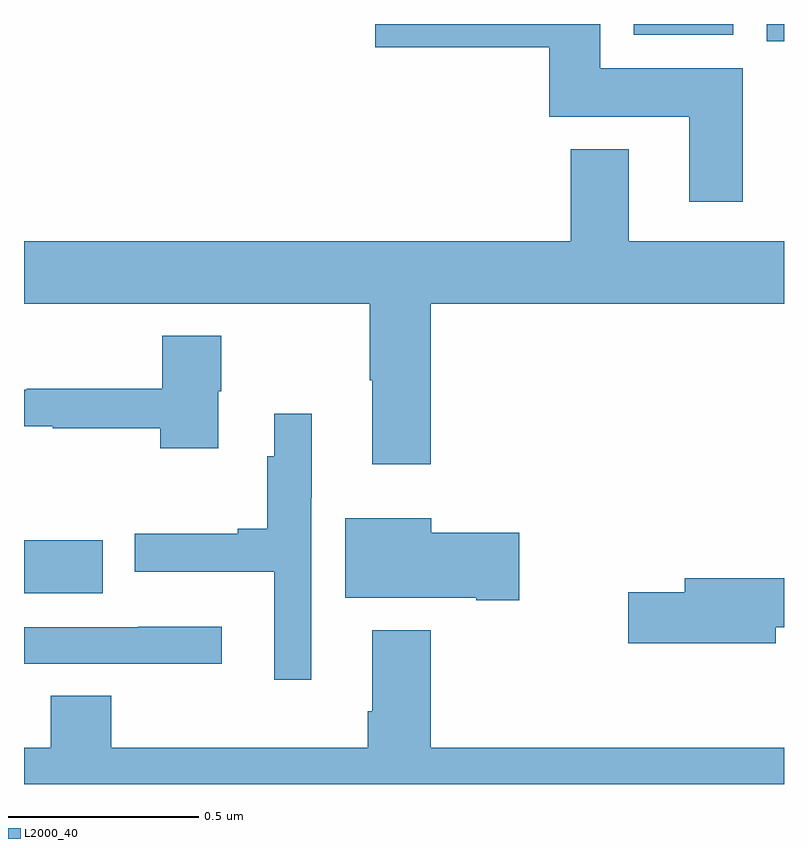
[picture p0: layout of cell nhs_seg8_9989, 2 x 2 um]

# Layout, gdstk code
import gdstk
lib = gdstk.Library(unit=1e-6, precision=1e-09)
def R(c, l, rs):  # rectangles x0, y0, x1, y1
    for r in rs: c.add(gdstk.rectangle(r[:2], r[2:], *l))
def P(c, l, *ps):  # polygons
    for p in ps: c.add(gdstk.Polygon(p, *l))
L2000_40 = (2000, 40)

nhs_seg8_9989 = lib.new_cell('nhs_seg8_9989')
R(nhs_seg8_9989, L2000_40, [(243,1118.402,243.207,1118.542), (244.955,1119.854,245,1119.9), (244.604,1119.872,244.867,1119.9)])
P(nhs_seg8_9989, L2000_40, [(244.891,1119.784),(244.516,1119.784),(244.516,1119.9),(243.924,1119.9),(243.924,1119.839),(244.382,1119.839),(244.382,1119.656),(244.751,1119.656),(244.751,1119.432),(244.891,1119.432)],
  [(244.07,1119.164),(245,1119.164),(245,1119.328),(244.591,1119.328),(244.591,1119.571),(244.439,1119.571),(244.439,1119.328),(243,1119.328),(243,1119.164),(243.91,1119.164),(243.91,1118.962),(243.917,1118.962),(243.917,1118.742),(244.07,1118.742)],
  [(243.511,1118.934),(243.519,1118.934),(243.519,1119.079),(243.364,1119.079),(243.364,1118.94),(243.007,1118.94),(243.007,1118.937),(243,1118.937),(243,1118.841),(243.076,1118.841),(243.076,1118.836),(243.359,1118.836),(243.359,1118.784),(243.511,1118.784)],
  [(243.756,1118.653),(243.757,1118.653),(243.757,1118.875),(243.659,1118.875),(243.659,1118.762),(243.64,1118.762),(243.64,1118.572),(243.563,1118.572),(243.563,1118.559),(243.292,1118.559),(243.292,1118.459),(243.659,1118.459),(243.659,1118.175),(243.756,1118.175)],
  [(244.303,1118.561),(244.072,1118.561),(244.072,1118.599),(243.845,1118.599),(243.845,1118.39),(244.19,1118.39),(244.19,1118.383),(244.303,1118.383)],
  [(244.978,1118.313),(245,1118.313),(245,1118.441),(244.739,1118.441),(244.739,1118.405),(244.59,1118.405),(244.59,1118.27),(244.978,1118.27)],
  [(243.52,1118.314),(243.3,1118.314),(243.3,1118.313),(243,1118.313),(243,1118.217),(243.52,1118.217)],
  [(245,1117.996),(244.07,1117.996),(244.07,1118.305),(243.917,1118.305),(243.917,1118.092),(243.905,1118.092),(243.905,1117.996),(243.23,1117.996),(243.23,1118.132),(243.07,1118.132),(243.07,1117.996),(243,1117.996),(243,1117.9),(245,1117.9)])

lib.write_gds('nhs_seg8_9989.gds')
